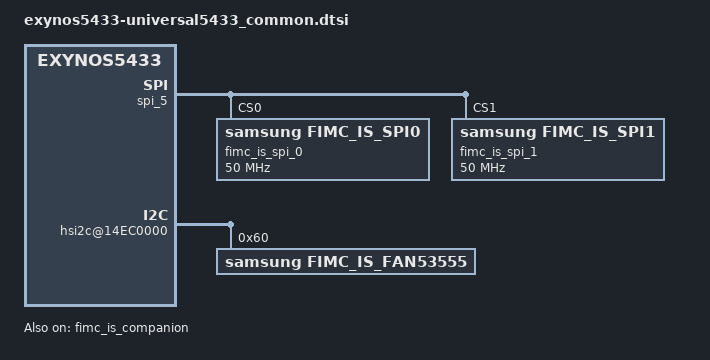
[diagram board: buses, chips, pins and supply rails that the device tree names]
/*
 * SAMSUNG UNIVERSAL5433 board device tree source
 *
 * Copyright (c) 2013 Samsung Electronics Co., Ltd.
 *		http://www.samsung.com
 *
 * This program is free software; you can redistribute it and/or modify
 * it under the terms of the GNU General Public License version 2 as
 * published by the Free Software Foundation.
 */

#include "exynos5433.dtsi"

/ {
	spi_5: spi@141a0000 {
		clocks = <&clock 2626>, <&clock 4083>; /* Workaround for SPI read in A5 */
		clock-names = "spi", "spi_busclk0";    /* Must be removed later */
		#address-cells = <1>;
		#size-cells = <0>;

		num-cs = <2>;

		fimc_is_spi_0@0 {
			compatible = "samsung,fimc_is_spi0";
			spi-max-frequency = <50000000>;
			reg = <0x0>;

			controller-data {
				cs-gpio = <&gpc0 6 0>;
				samsung,spi-feedback-delay = <2>;
			};
		};

		fimc_is_spi_1@1 {
			compatible = "samsung,fimc_is_spi1";
			fimc_is_spi_sclk = "gpc3-0";
			fimc_is_spi_ssn = "gpc3-1";
			fimc_is_spi_miso = "gpc3-2";
			fimc_is_spi_mois = "gpc3-3";
			spi-max-frequency = <50000000>;
			reg = <0x1>;
			pinctrl-names = "default";
			pinctrl-0 = <&fimc_is_comp_int>;

			controller-data {
				cs-gpio = <&gpc3 1 0>;
				samsung,spi-feedback-delay = <3>;
			};
		};
	};

	hsi2c@14EC0000 {
		status = "okay";
		fimc_is_fan53555@60 {
			compatible = "samsung,fimc_is_fan53555";
			reg = <0x60>;
			comp_en = <&gpf1 7 0x01>;
			status = "okay";
		};
	};

	/* Companion driver */
	fimc_is_companion: fimc_is_companion@14180000 {
		compatible = "samsung,exynos5-fimc-is-companion";
		samsung,power-domain = <&pd_cam1>;
		clock-names =
			/* SENSOR0 MCLK */
			"sclk_isp_sensor0",		/* 33 */
			"mout_sclk_isp_sensor0",	/* 3066 */
			"dout_sclk_isp_sensor0_a",	/* 4090 */
			"dout_sclk_isp_sensor0_b",	/* 4091 */

			"mout_bus_pll_user",		/* 3010 */
			"oscclk",			/* 5000 */

			/* SPI-ISP */
			"sclk_isp_spi0_top",		/* 30 */
			"sclk_isp_spi1_top",		/* 31 */
			"mout_sclk_isp_spi0",		/* 3063 */
			"mout_sclk_isp_spi1",		/* 3064 */

			"gate_isp_spi1",		/* 2625 */
			"gate_isp_spi0",		/* 2626 */
			"dout_sclk_isp_spi0_a",		/* 4080 */
			"dout_sclk_isp_spi0_b",		/* 4081 */
			"dout_sclk_isp_spi1_a",		/* 4082 */
			"dout_sclk_isp_spi1_b",		/* 4083 */

			"mout_sclk_isp_spi0_user",	/* 3180 */
			"mout_sclk_isp_spi1_user",	/* 3181 */

			/* CMU TOP */
			"dout_aclk_cam1_333",		/* 4047 */

			/* USER_MUX_SEL */
			"aclk_cam1_333",		/* 342 */
			"mout_aclk_cam1_333_user",	/* 3225 */

			/* MPWM */
			"dout_pclk_cam1_166",		/* 4183 */
			"dout_pclk_cam1_83",		/* 4184 */
			"dout_sclk_isp_mpwm";		/* 4185 */
		clocks =
			/* SENSOR0 MCLK */
			<&clock 33>,
			<&clock 3066>,
			<&clock 4090>,
			<&clock 4091>,

			<&clock 3010>,
			<&clock 5000>,

			/* SPI-ISP */
			<&clock 30>,
			<&clock 31>,
			<&clock 3063>,
			<&clock 3064>,

			<&clock 2625>,
			<&clock 2626>,
			<&clock 4080>,
			<&clock 4081>,
			<&clock 4082>,
			<&clock 4083>,

			<&clock 3180>,
			<&clock 3181>,

			/* CMU TOP */
			<&clock 4047>,

			/* USER_MUX_SEL */
			<&clock 342>,
			<&clock 3225>,

			/* MPWM */
			<&clock 4183>,
			<&clock 4184>,
			<&clock 4185>;
		pinctrl-names ="default", "ch0", "af0", "off0";
		pinctrl-0 = <&fimc_is_ch0_mclk_off>;
		pinctrl-1 = <&fimc_is_ch0_i2c &fimc_is_ch0_mclk>;
		pinctrl-2 = <&fimc_is_ch0_i2c &fimc_is_ch0_mclk &fimc_is_ch1_i2c>;
		pinctrl-3 = <&fimc_is_ch0_mclk_off>;

		scenario = <0>;
		mclk_ch = <0>;
		gpios_cam_en = <&gpf4 7 0x1>;
		gpio_reset = <&gpc0 4 0x1>;
		gpios_comp_en = <&gpf1 7 0x1>; /* COMP_EN */
		gpios_comp_reset = <&gpf5 7 0x1>; /* COMP_rstn */

		status = "okay";
	};

	fimc_is_sensor0: fimc_is_sensor@12100000 {
		scenario = <0>;
		gpio_reset = <&gpc0 4 0x1>;
		id = <0>;
		mclk_ch = <0>;
		csi_ch = <0>;
		flite_ch = <0>;
		i2c_ch = <0x100>;
		i2c_addr = <0x3434>;
		flash_first_gpio = <1>;
		flash_second_gpio = <2>;
		sensor_name = "imx240";
		sensor_id = <104>;
		is_bns = <1>;
		status = "okay";
	};

	fimc_is_sensor1: fimc_is_sensor@12110000 {
		pinctrl-names ="default", "ch1", "off1";
		pinctrl-0 = <&fimc_is_ch2_mclk_off>;
		pinctrl-1 = <&fimc_is_ch2_i2c &fimc_is_vision_i2c &fimc_is_ch2_mclk>;
		pinctrl-2 = <&fimc_is_ch2_mclk_off>;

		scenario = <0>;
		gpio_reset = <&gpc0 3 0x1>;
		gpio_standby = <&gpc0 0 0x1>;
		id = <1>;
		mclk_ch = <2>;
		csi_ch = <1>;
		flite_ch = <1>;
		i2c_ch = <0x2>;
		i2c_addr = <0x6A>;
		sensor_name = "6d1";
		sensor_id = <16>;
		is_bns = <0>;
		status = "okay";
	};

	fimc_is@14000000 {
		interrupts = <0 165 0>; /* Remove ISP_GIC to use FIMC IS i2c channel in host */
		companion_spi_channel = <0>;
		use_vision = <0>;
		use_sensor_dynamic_voltage_mode = <1>;
		fimc_is_dvfs {
			default_int = <400000>; /* L0 */
			default_cam = <777000>; /* L0 */
			default_mif = <825000>; /* L0 */
			default_i2c = <0>;

			front_preview_int = <267000>; /* L2 */
			front_preview_cam = <111000>; /* L9 */
			front_preview_mif = <543000>; /* L2 */
			front_preview_i2c = <0>;

			front_capture_int = <267000>; /* L2 */
			front_capture_cam = <111000>; /* L9 */
			front_capture_mif = <543000>; /* L2 */
			front_capture_i2c = <0>;

			front_camcording_int = <267000>; /* L2 */
			front_camcording_cam = <111000>; /* L9 */
			front_camcording_mif = <543000>; /* L2 */
			front_camcording_i2c = <0>;

			front_vt1_int = <200000>; /* L3 */
			front_vt1_cam = <111000>; /* L9 */
			front_vt1_mif = <543000>; /* L2 */
			front_vt1_i2c = <0>;

			front_vt2_int = <200000>; /* L3 */
			front_vt2_cam = <111000>; /* L9 */
			front_vt2_mif = <543000>; /* L2 */
			front_vt2_i2c = <0>;

			rear_preview_fhd_bns_off_int = <267000>; /* L2 */
			rear_preview_fhd_bns_off_cam = <200000>; /* L8 */
			rear_preview_fhd_bns_off_mif = <543000>; /* L2 */
			rear_preview_fhd_bns_off_i2c = <0>;

			rear_preview_fhd_int = <267000>; /* L2 */
			rear_preview_fhd_cam = <333000>; /* L6 */
			rear_preview_fhd_mif = <543000>; /* L2 */
			rear_preview_fhd_i2c = <0>;

			rear_preview_whd_int = <334000>; /* L1 */
			rear_preview_whd_cam = <600000>; /* L2 */
			rear_preview_whd_mif = <667000>; /* L1 */
			rear_preview_whd_i2c = <0>;

			rear_preview_uhd_int = <400000>; /* L0 */
			rear_preview_uhd_cam = <666000>; /* L1 */
			rear_preview_uhd_mif = <825000>; /* L0 */
			rear_preview_uhd_i2c = <0>;

			rear_capture_int = <400000>; /* L0 */
			rear_capture_cam = <777000>; /* L0 */
			rear_capture_mif = <667000>; /* L1 */
			rear_capture_i2c = <0>;

			rear_camcording_fhd_bns_off_int = <267000>; /* L2 */
			rear_camcording_fhd_bns_off_cam = <580000>; /* L3 */
			rear_camcording_fhd_bns_off_mif = <543000>; /* L2 */
			rear_camcording_fhd_bns_off_i2c = <0>;

			rear_camcording_fhd_int = <267000>; /* L2 */
			rear_camcording_fhd_cam = <555000>; /* L4 */
			rear_camcording_fhd_mif = <543000>; /* L2 */
			rear_camcording_fhd_i2c = <0>;

			rear_camcording_whd_int = <334000>; /* L1 */
			rear_camcording_whd_cam = <600000>; /* L2 */
			rear_camcording_whd_mif = <667000>; /* L1 */
			rear_camcording_whd_i2c = <0>;

			rear_camcording_uhd_int = <400000>; /* L0 */
			rear_camcording_uhd_cam = <666000>; /* L1 */
			rear_camcording_uhd_mif = <825000>; /* L0 */
			rear_camcording_uhd_i2c = <0>;

			dual_preview_int = <334000>; /* L1 */
			dual_preview_cam = <444000>; /* L5 */
			dual_preview_mif = <825000>; /* L0 */
			dual_preview_i2c = <0>;

			dual_capture_int = <400000>; /* L0 */
			dual_capture_cam = <777000>; /* L0 */
			dual_capture_mif = <825000>; /* L0 */
			dual_capture_i2c = <0>;

			dual_camcording_int = <334000>; /* L1 */
			dual_camcording_cam = <444000>; /* L5 */
			dual_camcording_mif = <825000>; /* L0 */
			dual_camcording_i2c = <0>;

			high_speed_fps_int = <400000>; /* L0 */
			high_speed_fps_cam = <222000>; /* L7 */
			high_speed_fps_mif = <825000>; /* L0 */
			high_speed_fps_i2c = <0>;

			dis_enable_int = <400000>; /* L0 */
			dis_enable_cam = <777000>; /* L0 */
			dis_enable_mif = <825000>; /* L0 */
			dis_enable_i2c = <0>;

			max_int = <400000>; /* L0 */
			max_cam = <777000>; /* L0 */
			max_mif = <825000>; /* L0 */
			max_i2c = <0>;
		};
	};

	pinctrl@14CC0000 {
		fimc_is_ch0_i2c: fimc-is-ch0_i2c {
			samsung,pins = "gpc2-1", "gpc2-0";
			samsung,pin-function = <2>;
			samsung,pin-pud = <0>;
			samsung,pin-drv = <3>;
		};
		fimc_is_ch1_i2c: fimc-is-ch1-i2c {
			samsung,pins = "gpc2-3", "gpc2-2";
			samsung,pin-function = <2>;
			samsung,pin-pud = <0>;
			samsung,pin-drv = <3>;
		};
		fimc_is_i2c_0: fimc-is-i2c-0 {
			samsung,pins = "gpc2-1", "gpc2-0";
			samsung,pin-function = <2>;
			samsung,pin-pud = <0>;
			samsung,pin-drv = <3>;
		};
		fimc_is_flash: fimc-is-flash {
			samsung,pins = "gpc0-2", "gpc0-1";
			samsung,pin-function = <2>;
			samsung,pin-pud = <0>;
			samsung,pin-drv = <0>;
		};
		fimc_is_flash_host: fimc-is-flash-host {
			samsung,pins = "gpc0-1";
			samsung,pin-function = <1>;
			samsung,pin-pud = <1>;
			samsung,pin-drv = <0>;
		};
		fimc_is_flash_is: fimc-is-flash-is {
			samsung,pins = "gpc0-1";
			samsung,pin-function = <2>;
			samsung,pin-pud = <1>;
			samsung,pin-drv = <0>;
		};
		fimc_is_comp_int: fimc-is-comp-int {
			samsung,pins = "gpc1-0";
			samsung,pin-function = <3>;
			samsung,pin-pud = <1>;
			samsung,pin-drv = <0>;
		};
		fimc_is_ois: fimc-is-ois {
			samsung,pins = "gpc2-3", "gpc2-2";
			samsung,pin-function = <1>;
			samsung,pin-pud = <0>;
			samsung,pin-drv = <0>;
		};
		uart1_bus: uart1-bus {
			samsung,pins = "gpd1-1", "gpd1-0";
			samsung,pin-function = <2>;
			samsung,pin-pud = <0>;
		};
		uart2_bus: uart2-bus {
			samsung,pins = "gpd1-4", "gpd1-5";
			samsung,pin-function = <2>;
			samsung,pin-pud = <0>;
		};
		fimc_is_ch0_mclk: fimc-is-ch0_mclk {
			samsung,pin-drv = <2>;
		};
		fimc_is_ch0_mclk_off: fimc-is-ch0_mclk_off {
			samsung,pins = "gpd7-0";
			samsung,pin-function = <1>;
			samsung,pin-pud = <1>;
			samsung,pin-drv = <2>;
		};
		fimc_is_vision_i2c: fimc-is-vision-i2c {
			samsung,pins = "gpd1-3", "gpd1-2";
			samsung,pin-function = <3>;
			samsung,pin-pud = <0>;
			samsung,pin-drv = <6>;
		};
		fimc_is_vision_gpio_i2c: fimc-is-vision-gpio-i2c {
			samsung,pins = "gpd1-3", "gpd1-2";
			samsung,pin-function = <0>;
			samsung,pin-pud = <0>;
			samsung,pin-drv = <0>;
		};
		fimc_is_ch2_i2c: fimc-is-ch2-i2c {
			samsung,pins = "gpc2-5", "gpc2-4";
			samsung,pin-function = <2>;
			samsung,pin-pud = <0>;
			samsung,pin-drv = <6>;
		};
		fimc_is_ch2_mclk: fimc-is-ch2-mclk {
			samsung,pin-drv = <2>;
		};
		fimc_is_ch2_mclk_off: fimc-is-ch2_mclk_off {
			samsung,pins = "gpd7-2";
			samsung,pin-function = <1>;
			samsung,pin-pud = <1>;
			samsung,pin-drv = <2>;
		};
		fimc_is_spi_pin0: fimc-is-spi-pin0 {
			samsung,pins = "gpc3-3", "gpc3-2", "gpc3-0";
			samsung,pin-function = <0>;
			samsung,pin-pud = <1>;
			samsung,pin-drv = <2>;
		};
		fimc_is_spi_ssn0: fimc-is-spi-ssn0 {
			samsung,pins = "gpc3-1", "gpc0-6";
			samsung,pin-function = <0>;
			samsung,pin-pud = <0>;
			samsung,pin-drv = <2>;
		};
		fimc_is_ois_hsi2c_on: fimc-is-ois-hsi2c-on {
			samsung,pins = "gpd1-3", "gpd1-2";
			samsung,pin-function = <3>;
			samsung,pin-pud = <0>;
			samsung,pin-drv = <0>;
		};
		fimc_is_hsi2c_off: fimc-is-hsi2c-off {
			samsung,pins = "gpd1-3", "gpd1-2";
			samsung,pin-function = <0>;
			samsung,pin-pud = <0>;
			samsung,pin-drv = <3>;
		};
		fimc_is_ch1_i2c_off: fimc-is-ch1-i2c-off {
			samsung,pins = "gpc2-3", "gpc2-2";
			samsung,pin-function = <0>;
			samsung,pin-pud = <0>;
			samsung,pin-drv = <3>;
		};
		fimc_is_ch2_i2c_off: fimc-is-ch2-i2c-off {
			samsung,pins = "gpc2-5", "gpc2-4";
			samsung,pin-function = <0>;
			samsung,pin-pud = <0>;
			samsung,pin-drv = <6>;
		};
	};
};
